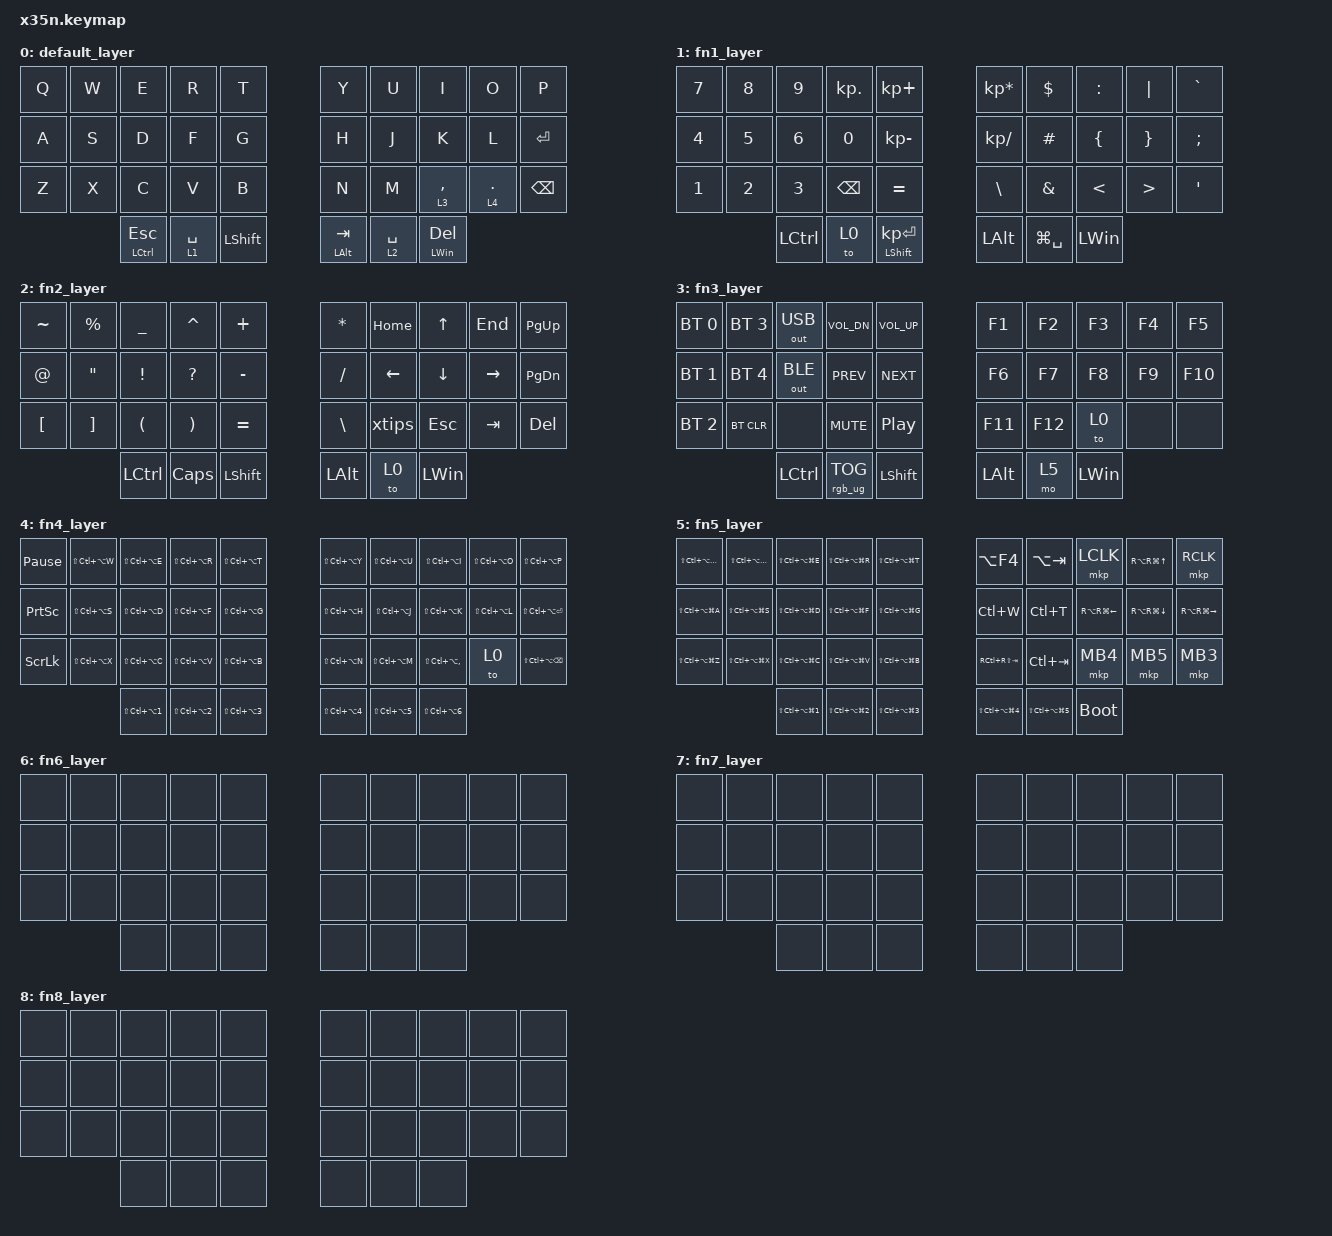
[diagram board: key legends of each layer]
/*
 * Copyright (c) 2020 The ZMK Contributors
 *
 * SPDX-License-Identifier: MIT
 */

#include <behaviors.dtsi>
#include <dt-bindings/zmk/keys.h>
#include <dt-bindings/zmk/rgb.h>
#include <dt-bindings/zmk/bt.h>
#include <dt-bindings/zmk/outputs.h>
#include <dt-bindings/zmk/ext_power.h>
#include <dt-bindings/zmk/mouse.h>

/ {
    macros {
        xtips: xtips {
            compatible = "zmk,behavior-macro";
            label = "XTIPS";
            #binding-cells = <0>;
            bindings = <&kp LS(X) &kp KP_DOT &kp LS(T) &kp I &kp P &kp S>;
            wait-ms = <1>;
            tap-ms = <1>;
        };
    };

    keymap0: keymap {
        compatible = "zmk,keymap";

        default_layer {
            bindings = <
            &kp Q  &kp W  &kp E  &kp R  &kp T  &kp Y  &kp U  &kp I  &kp O  &kp P
            &kp A  &kp S  &kp D  &kp F  &kp G  &kp H  &kp J  &kp K  &kp L  &kp ENTER
            &kp Z  &kp X  &kp C  &kp V  &kp B  &kp N  &kp M  &lt 3 COMMA  &lt 4 DOT  &kp BSPC
            &mt LCTRL ESC  &lt 1 SPACE  &kp LSHFT  &mt LALT TAB  &lt 2 SPACE  &mt LWIN DEL
            >;
        };

        fn1_layer {
            bindings = <
            &kp N7  &kp N8  &kp N9  &kp KP_DOT  &kp KP_PLUS  &kp KP_MULTIPLY  &kp DLLR  &kp COLON  &kp PIPE  &kp GRAVE
            &kp N4  &kp N5  &kp N6  &kp N0  &kp KP_MINUS  &kp KP_SLASH  &kp HASH  &kp LBRC  &kp RBRC  &kp SEMI
            &kp N1  &kp N2  &kp N3  &kp BSPC  &kp EQUAL  &kp BSLH  &kp AMPS  &kp LT  &kp GT  &kp SQT
            &kp LCTRL  &to 0  &mt LSHFT KP_ENTER  &kp LALT  &kp LG(SPACE)  &kp LWIN
            >;
        };

        fn2_layer {
            bindings = <
            &kp TILDE  &kp PRCNT  &kp UNDER  &kp CARET  &kp PLUS  &kp STAR  &kp HOME  &kp UP  &kp END  &kp PG_UP
            &kp AT  &kp DQT  &kp EXCL  &kp QMARK  &kp MINUS  &kp SLASH  &kp LEFT  &kp DOWN  &kp RIGHT  &kp PG_DN
            &kp LBKT  &kp RBKT  &kp LPAR  &kp RPAR  &kp EQUAL  &kp BSLH  &xtips  &kp ESC  &kp TAB  &kp DEL
            &kp LCTRL  &kp CAPS  &kp LSHFT  &kp LALT  &to 0  &kp LWIN
            >;
        };

        fn3_layer {
            bindings = <
            &bt BT_SEL 0  &bt BT_SEL 3  &out OUT_USB  &kp C_VOL_DN  &kp C_VOL_UP  &kp F1  &kp F2  &kp F3  &kp F4  &kp F5
            &bt BT_SEL 1  &bt BT_SEL 4  &out OUT_BLE  &kp C_PREV  &kp C_NEXT  &kp F6  &kp F7  &kp F8  &kp F9  &kp F10
            &bt BT_SEL 2  &bt BT_CLR  &none  &kp C_MUTE  &kp C_PP  &kp F11  &kp F12  &to 0  &none  &none
            &kp LCTRL  &rgb_ug RGB_TOG  &kp LSHFT  &kp LALT  &mo 5  &kp LWIN
            >;
        };

        fn4_layer {
            bindings = <
            &kp PAUSE_BREAK  &kp LS(LC(LA(W)))  &kp LS(LC(LA(E)))  &kp LS(LC(LA(R)))  &kp LS(LC(LA(T)))  &kp LS(LC(LA(Y)))  &kp LS(LC(LA(U)))  &kp LS(LC(LA(I)))  &kp LS(LC(LA(O)))  &kp LS(LC(LA(P)))
            &kp PSCRN  &kp LS(LC(LA(S)))  &kp LS(LC(LA(D)))  &kp LS(LC(LA(F)))  &kp LS(LC(LA(G)))  &kp LS(LC(LA(H)))  &kp LS(LC(LA(J)))  &kp LS(LC(LA(K)))  &kp LS(LC(LA(L)))  &kp LS(LC(LA(ENTER)))
            &kp SLCK  &kp LS(LC(LA(X)))  &kp LS(LC(LA(C)))  &kp LS(LC(LA(V)))  &kp LS(LC(LA(B)))  &kp LS(LC(LA(N)))  &kp LS(LC(LA(M)))  &kp LS(LC(LA(COMMA)))  &to 0  &kp LS(LC(LA(BSPC)))
            &kp LS(LC(LA(N1)))  &kp LS(LC(LA(N2)))  &kp LS(LC(LA(N3)))  &kp LS(LC(LA(N4)))  &kp LS(LC(LA(N5)))  &kp LS(LC(LA(N6)))
            >;
        };

        fn5_layer {
            bindings = <
            &kp LS(LC(LA(LG(Q))))  &kp LS(LC(LA(LG(W))))  &kp LS(LC(LA(LG(E))))  &kp LS(LC(LA(LG(R))))  &kp LS(LC(LA(LG(T))))  &kp LA(F4)  &kp LA(TAB)  &mkp LCLK  &kp RA(RG(UP))  &mkp RCLK
            &kp LS(LC(LA(LG(A))))  &kp LS(LC(LA(LG(S))))  &kp LS(LC(LA(LG(D))))  &kp LS(LC(LA(LG(F))))  &kp LS(LC(LA(LG(G))))  &kp LC(W)  &kp LC(T)  &kp RA(RG(LEFT))  &kp RA(RG(DOWN))  &kp RA(RG(RIGHT))
            &kp LS(LC(LA(LG(Z))))  &kp LS(LC(LA(LG(X))))  &kp LS(LC(LA(LG(C))))  &kp LS(LC(LA(LG(V))))  &kp LS(LC(LA(LG(B))))  &kp RC(RS(TAB))  &kp LC(TAB)  &mkp MB4  &mkp MB5  &mkp MB3
            &kp LS(LC(LA(LG(1))))  &kp LS(LC(LA(LG(2))))  &kp LS(LC(LA(LG(3))))  &kp LS(LC(LA(LG(4))))  &kp LS(LC(LA(LG(5))))  &bootloader
            >;
        };

        fn6_layer {
            bindings = <
            &none  &none  &none  &none  &none  &none  &none  &none  &none  &none
            &none  &none  &none  &none  &none  &none  &none  &none  &none  &none
            &none  &none  &none  &none  &none  &none  &none  &none  &none  &none
            &none  &none  &none  &none  &none  &none
            >;
        };

        fn7_layer {
            bindings = <
            &none  &none  &none  &none  &none  &none  &none  &none  &none  &none
            &none  &none  &none  &none  &none  &none  &none  &none  &none  &none
            &none  &none  &none  &none  &none  &none  &none  &none  &none  &none
            &none  &none  &none  &none  &none  &none
            >;
        };

        fn8_layer {
            bindings = <
            &none  &none  &none  &none  &none  &none  &none  &none  &none  &none
            &none  &none  &none  &none  &none  &none  &none  &none  &none  &none
            &none  &none  &none  &none  &none  &none  &none  &none  &none  &none
            &none  &none  &none  &none  &none  &none
            >;
        };
    };
};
